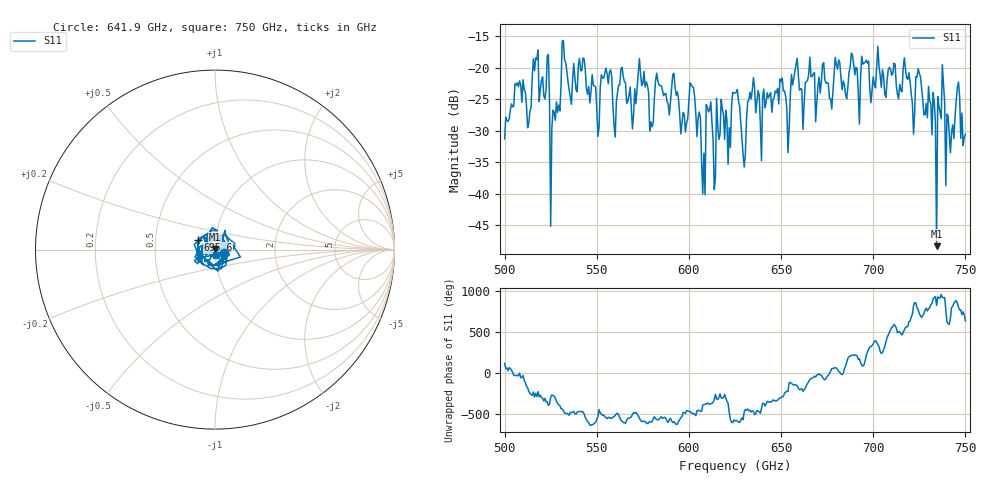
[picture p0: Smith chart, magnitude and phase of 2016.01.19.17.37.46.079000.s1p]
!Created with skrf (http://scikit-rf.org).
# GHz S RI R 50.0
!freq ReS11 ImS11
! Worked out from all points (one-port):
!   401 points, 500 GHz to 750 GHz, reference 50 ohm
!   lowest |S11| = -48.3 dB at 734.4 GHz (marker M1), VSWR 1.01, Z = 49.9 + j0.366 ohm
!   |S11| at or under -10 dB: start of sweep to end of sweep
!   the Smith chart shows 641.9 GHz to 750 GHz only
!   S11 on the Smith chart (normalised r, x): 641.9 GHz: 1.10, -0.05; 695.6 GHz: 0.82, +0.09; 750 GHz: 1.01, -0.06
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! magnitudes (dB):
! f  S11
! 500 GHz  -31.3
! 506.9 GHz  -22.4
! 513.1 GHz  -28.8
! 516.9 GHz  -18.5
! 523.1 GHz  -18.1
! 526.2 GHz  -26.7
! 531.2 GHz  -15.8
! 550.6 GHz  -30.9
! 562.5 GHz  -22.7
! 580 GHz  -29.4
! 583.1 GHz  -22.1
! 593.8 GHz  -23.8
! 601.9 GHz  -23.0
! 607.5 GHz  -40.0
! 610.6 GHz  -27.0
! 615 GHz  -24.9
! 625 GHz  -24.0
! 629.4 GHz  -33.7
! 634.4 GHz  -23.6
! 641.9 GHz  -25.5
! 653.8 GHz  -33.5
! 656.2 GHz  -22.7
! 687.5 GHz  -19.9
! 695.6 GHz  -19.2
! 718.8 GHz  -21.9
! 734.4 GHz  -48.3
! 745.6 GHz  -23.2
! 750 GHz  -30.6
